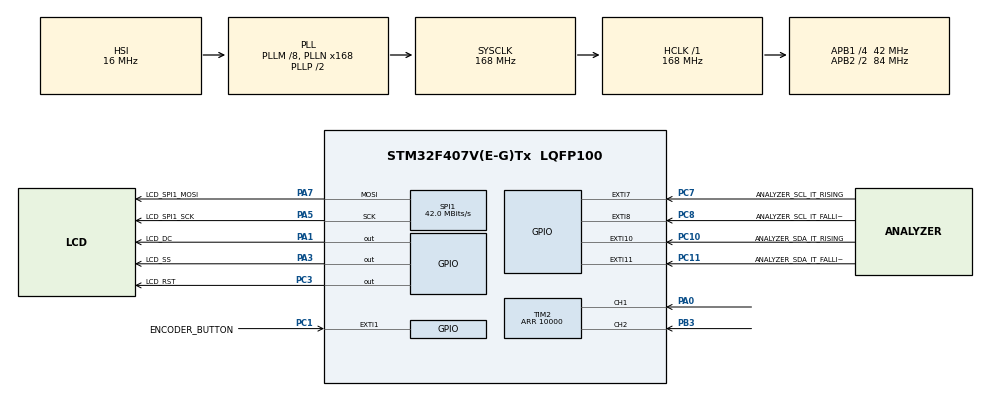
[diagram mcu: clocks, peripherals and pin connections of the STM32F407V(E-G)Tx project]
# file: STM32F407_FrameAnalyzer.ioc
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Dma.Request0=SPI1_TX
Dma.SPI1_TX.0.Direction=DMA_MEMORY_TO_PERIPH
Dma.SPI1_TX.0.FIFOMode=DMA_FIFOMODE_DISABLE
Dma.SPI1_TX.0.Instance=DMA2_Stream3
Dma.SPI1_TX.0.MemDataAlignment=DMA_MDATAALIGN_BYTE
Dma.SPI1_TX.0.MemInc=DMA_MINC_ENABLE
Dma.SPI1_TX.0.Mode=DMA_NORMAL
Dma.SPI1_TX.0.PeriphDataAlignment=DMA_PDATAALIGN_BYTE
Dma.SPI1_TX.0.PeriphInc=DMA_PINC_DISABLE
Dma.SPI1_TX.0.Priority=DMA_PRIORITY_LOW
Mcu.Family=STM32F4
Mcu.Name=STM32F407V(E-G)Tx
Mcu.Package=LQFP100
NVIC.DMA2_Stream3_IRQn=true\:0\:0\:false\:false\:true\:false\:true\:true
NVIC.EXTI15_10_IRQn=true\:0\:0\:false\:false\:true\:true\:true\:true
NVIC.EXTI1_IRQn=true\:0\:0\:false\:false\:true\:true\:true\:true
NVIC.EXTI9_5_IRQn=true\:0\:0\:false\:false\:true\:true\:true\:true
NVIC.PriorityGroup=NVIC_PRIORITYGROUP_4
NVIC.TIM8_TRG_COM_TIM14_IRQn=true\:0\:0\:false\:false\:true\:true\:true\:true
NVIC.TIM8_UP_TIM13_IRQn=true\:0\:0\:false\:false\:true\:true\:true\:true
PA0-WKUP.GPIO_PuPd=GPIO_PULLDOWN
PA0-WKUP.Signal=S_TIM2_CH1_ETR
PA1.GPIO_Label=LCD_DC
PA1.Signal=GPIO_Output
PA13.Mode=Serial_Wire
PA13.Signal=SYS_JTMS-SWDIO
PA14.Mode=Serial_Wire
PA14.Signal=SYS_JTCK-SWCLK
PA3.GPIO_Label=LCD_SS
PA3.PinState=GPIO_PIN_SET
PA3.Signal=GPIO_Output
PA5.GPIO_Label=LCD_SPI1_SCK
PA5.Mode=TX_Only_Simplex_Unidirect_Master
PA5.Signal=SPI1_SCK
PA7.GPIO_Label=LCD_SPI1_MOSI
PA7.Mode=TX_Only_Simplex_Unidirect_Master
PA7.Signal=SPI1_MOSI
PB3.GPIO_PuPd=GPIO_PULLDOWN
PB3.Signal=S_TIM2_CH2
PC1.GPIO_Label=ENCODER_BUTTON
PC1.GPIO_ModeDefaultEXTI=GPIO_MODE_IT_FALLING
PC1.GPIO_PuPd=GPIO_PULLUP
PC1.Signal=GPXTI1
PC10.GPIO_Label=ANALYZER_SDA_IT_RISING
PC10.GPIO_ModeDefaultEXTI=GPIO_MODE_IT_RISING
PC10.GPIO_PuPd=GPIO_PULLDOWN
PC10.Signal=GPXTI10
PC11.GPIO_Label=ANALYZER_SDA_IT_FALLING
PC11.GPIO_ModeDefaultEXTI=GPIO_MODE_IT_FALLING
PC11.Signal=GPXTI11
PC3.GPIO_Label=LCD_RST
PC3.Signal=GPIO_Output
PC7.GPIO_Label=ANALYZER_SCL_IT_RISING
PC7.GPIO_ModeDefaultEXTI=GPIO_MODE_IT_RISING
PC7.GPIO_PuPd=GPIO_NOPULL
PC7.Signal=GPXTI7
PC8.GPIO_Label=ANALYZER_SCL_IT_FALLING
PC8.GPIO_ModeDefaultEXTI=GPIO_MODE_IT_FALLING
PC8.Signal=GPXTI8
ProjectManager.HeapSize=0x200
ProjectManager.StackSize=0x400
ProjectManager.TargetToolchain=STM32CubeIDE
RCC.48MHZClocksFreq_Value=84000000
RCC.AHBFreq_Value=168000000
RCC.APB1CLKDivider=RCC_HCLK_DIV4
RCC.APB1Freq_Value=42000000
RCC.APB1TimFreq_Value=84000000
RCC.APB2CLKDivider=RCC_HCLK_DIV2
RCC.APB2Freq_Value=84000000
RCC.APB2TimFreq_Value=168000000
RCC.CortexFreq_Value=168000000
RCC.HCLKFreq_Value=168000000
RCC.HSE_VALUE=25000000
RCC.HSI_VALUE=16000000
RCC.LSE_VALUE=32768
RCC.PLLM=8
RCC.PLLN=168
RCC.SYSCLKFreq_VALUE=168000000
RCC.SYSCLKSource=RCC_SYSCLKSOURCE_PLLCLK
RCC.VCOOutputFreq_Value=336000000
SH.S_TIM2_CH1_ETR.0=TIM2_CH1,Encoder_Interface
SH.S_TIM2_CH2.0=TIM2_CH2,Encoder_Interface
SPI1.CalculateBaudRate=42.0 MBits/s
SPI1.Direction=SPI_DIRECTION_2LINES
SPI1.Mode=SPI_MODE_MASTER
SPI1.VirtualType=VM_MASTER
TIM13.Period=200-1
TIM13.Prescaler=8400-1
TIM14.Period=250-1
TIM14.Prescaler=16800-1
TIM2.IC1Filter=15
TIM2.IC2Filter=15
TIM2.Period=10000
VP_TIM13_VS_ClockSourceINT.Mode=Enable_Timer
VP_TIM14_VS_ClockSourceINT.Mode=Enable_Timer
board=custom

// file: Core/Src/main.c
/* USER CODE BEGIN Header */
/**
  ******************************************************************************
  * @file           : main.c
  * @brief          : Main program body
  ******************************************************************************
  * @attention
  *
  * Copyright (c) 2024 STMicroelectronics.
  * All rights reserved.
  *
  * This software is licensed under terms that can be found in the LICENSE file
  * in the root directory of this software component.
  * If no LICENSE file comes with this software, it is provided AS-IS.
  *
  ******************************************************************************
  */
/* USER CODE END Header */
#include "main.h"
#include "dma.h"
#include "spi.h"
#include "tim.h"
#include "gpio.h"

/* USER CODE BEGIN Includes */

#include "i2c_analyze.h"
#include "hci.h"
#include "whole_frame_display.h"

#include <math.h>
#include <string.h>
#include <stdio.h>
#include <stdbool.h>

/* USER CODE END Includes */

/* USER CODE BEGIN PV */

int new_data = 0;
char new_data_char[30];

int x = 5;
int y = 5;

extern i2c_bit_buffer_s i2c_bits;
extern i2c_byte_buffer_s i2c_bytes;

lcd_buffer_s lcd_buffer;

void start_display_data_only()
{
	int choosen_color = WHITE;

	int size = i2c_get_bytes_buffor_size();
  	for(int i = 0; i < size; i++)
  	{
  	  switch(i)
  	  {
		  case 0:
		  	  new_data = i2c_get_ready_i2c_byte();
		  	  sprintf(new_data_char, "Device address: 0x%02X", new_data);
		  	  choosen_color = RED;
			  break;

		  case 1:
		  	  new_data = i2c_get_ready_i2c_byte();
		  	  sprintf(new_data_char, "Register address: 0x%02X", new_data);
		  	  choosen_color = YELLOW;
			  break;

		  default:
		  	  new_data = i2c_get_ready_i2c_byte();
		  	  sprintf(new_data_char, "%02d:0x%02X", (i - 1), new_data);
		  	  choosen_color = WHITE;
			  break;
  	  }

  	  LCD_DisplayString( x, y, new_data_char, choosen_color, LCD_FONT8);

  	  if(y + 15 < LCD_HEIGHT)
  	  {
  	      y = y + 10;
  	  }
  	  else
  	  {
  		  y = 25;
  		  x = x + 40;
  	  }
  	}
  	lcd_copy();
  	HAL_Delay(10);

  	i2c_reset_all();
  	new_data = 0;
  	for(int i = 0; i < 30; i++)
  	{
  		new_data_char[i] = 0;
  	}

  	fill_with(BLACK);
  	y = 5;
  	x = 5;
}

extern int8_t encoder_flag;
int debounce_active = 0;
extern volatile int menu_opened;

int whole_frame_flag = 0;

void HAL_TIM_PeriodElapsedCallback(TIM_HandleTypeDef *htim)
{
    if (htim == &htim13)
    {
    	HAL_TIM_Base_Stop_IT(&htim13);
    	debounce_active = 0;

    	if(HAL_GPIO_ReadPin(ENCODER_BUTTON_GPIO_Port, ENCODER_BUTTON_Pin) == GPIO_PIN_RESET)
    	{
    		if(menu_opened == 1)
    		{
    			menu_enter();
    			menu_refresh();
    		}
    		else
    		{
    			whole_frame_flag = 0;
    			i2c_reset_all();
    			hci_display_menu();
    		}
    	}
    }

    if (htim == &htim14) {
    	encoder_flag = 1;
    }
}

int start_display_flag = 0;
extern volatile bool hci_i2c_flag;

void HAL_GPIO_EXTI_Callback(uint16_t GPIO_Pin)
{
	if(GPIO_Pin == ENCODER_BUTTON_Pin)
	{
        if (debounce_active == 0)
        {
            debounce_active = 1;
            HAL_TIM_Base_Start_IT(&htim13);
        }
	}

	if(hci_i2c_flag == true)
	{
		switch(GPIO_Pin)
		{
			case ANALYZER_SCL_IT_RISING_Pin:
				i2c_read_data();
			    break;

			case ANALYZER_SCL_IT_FALLING_Pin:
				i2c_scl_falling();
			    break;

			case ANALYZER_SDA_IT_RISING_Pin:
				if(i2c_check_for_stop() == I2C_STOP)
				{
					i2c_convert_i2c_bytes();
					lcd_buffer_init(&lcd_buffer);
				  	for (int i = 0; i < BITS_ON_SCREEN; i++){
				  		lcd_buffer.data[i] = i2c_bits.data[i];
				  	}
					start_display_flag = 1;
				}
			    break;

			case ANALYZER_SDA_IT_FALLING_Pin:
				i2c_check_for_start();
			    break;

			default:
			    break;
		}
	}

	__HAL_GPIO_EXTI_CLEAR_IT(GPIO_Pin);
}

/* USER CODE END PV */

void SystemClock_Config(void);

int main(void)
{

  /* MCU Configuration--------------------------------------------------------*/

  /* Reset of all peripherals, Initializes the Flash interface and the Systick. */
  HAL_Init();

  /* Configure the system clock */
  SystemClock_Config();

  /* Initialize all configured peripherals */
  MX_GPIO_Init();
  MX_DMA_Init();
  MX_SPI1_Init();
  MX_TIM2_Init();
  MX_TIM14_Init();
  MX_TIM13_Init();
  /* USER CODE BEGIN 2 */

  hci_encoder_init();

  lcd_init();
  fill_with(BLACK);
  lcd_copy();

  extern display_mode mode;

  /* USER CODE END 2 */

  /* Infinite loop */
  /* USER CODE BEGIN WHILE */
  while (1)
  {

	  if (start_display_flag == 1)
	  {
		  fill_with(BLACK);
		  switch(mode)
		  {
			  case DISPLAY_MODE_DATA_ONLY:
				  start_display_data_only();
				  start_display_flag = 0;
				  break;

			  case DISPLAY_MODE_WHOLE_FRAME:
				  start_display_whole_frame();
				  whole_frame_flag = 1;
				  start_display_flag = 0;
				  break;
		  }
	  }

	  hci_scroll();

	  if(menu_opened == 1)
	  {
		  menu_scrolling();
	  }

	  if(whole_frame_flag == 1)
	  {
		  whole_frame_scrolling();
	  }

    /* USER CODE END WHILE */

  }
}

void SystemClock_Config(void)
{
  RCC_OscInitTypeDef RCC_OscInitStruct = {0};
  RCC_ClkInitTypeDef RCC_ClkInitStruct = {0};

  /** Configure the main internal regulator output voltage
  */
  __HAL_RCC_PWR_CLK_ENABLE();
  __HAL_PWR_VOLTAGESCALING_CONFIG(PWR_REGULATOR_VOLTAGE_SCALE1);

  /** Initializes the RCC Oscillators according to the specified parameters
  * in the RCC_OscInitTypeDef structure.
  */
  RCC_OscInitStruct.OscillatorType = RCC_OSCILLATORTYPE_HSI;
  RCC_OscInitStruct.HSIState = RCC_HSI_ON;
  RCC_OscInitStruct.HSICalibrationValue = RCC_HSICALIBRATION_DEFAULT;
  RCC_OscInitStruct.PLL.PLLState = RCC_PLL_ON;
  RCC_OscInitStruct.PLL.PLLSource = RCC_PLLSOURCE_HSI;
  RCC_OscInitStruct.PLL.PLLM = 8;
  RCC_OscInitStruct.PLL.PLLN = 168;
  RCC_OscInitStruct.PLL.PLLP = RCC_PLLP_DIV2;
  RCC_OscInitStruct.PLL.PLLQ = 4;
  if (HAL_RCC_OscConfig(&RCC_OscInitStruct) != HAL_OK)
  {
    Error_Handler();
  }

  /** Initializes the CPU, AHB and APB buses clocks
  */
  RCC_ClkInitStruct.ClockType = RCC_CLOCKTYPE_HCLK|RCC_CLOCKTYPE_SYSCLK
                              |RCC_CLOCKTYPE_PCLK1|RCC_CLOCKTYPE_PCLK2;
  RCC_ClkInitStruct.SYSCLKSource = RCC_SYSCLKSOURCE_PLLCLK;
  RCC_ClkInitStruct.AHBCLKDivider = RCC_SYSCLK_DIV1;
  RCC_ClkInitStruct.APB1CLKDivider = RCC_HCLK_DIV4;
  RCC_ClkInitStruct.APB2CLKDivider = RCC_HCLK_DIV2;

  if (HAL_RCC_ClockConfig(&RCC_ClkInitStruct, FLASH_LATENCY_5) != HAL_OK)
  {
    Error_Handler();
  }
}

void Error_Handler(void)
{
  __disable_irq();
  while (1)
  {
  }
}
